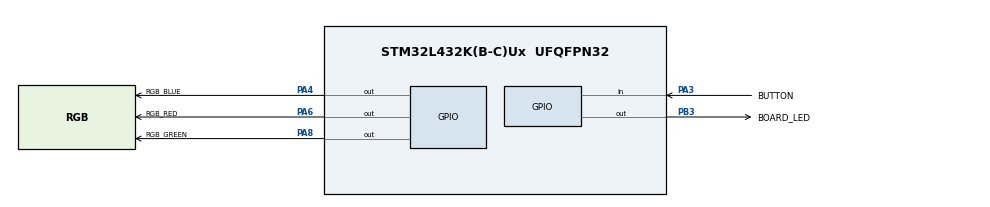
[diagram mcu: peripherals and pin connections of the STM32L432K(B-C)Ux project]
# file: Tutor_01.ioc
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Mcu.Family=STM32L4
Mcu.Name=STM32L432K(B-C)Ux
Mcu.Package=UFQFPN32
NVIC.PriorityGroup=NVIC_PRIORITYGROUP_4
PA3.GPIO_Label=BUTTON
PA3.Signal=GPIO_Input
PA4.GPIO_Label=RGB_BLUE
PA4.Signal=GPIO_Output
PA6.GPIO_Label=RGB_RED
PA6.GPIO_PuPd=GPIO_NOPULL
PA6.GPIO_Speed=GPIO_SPEED_FREQ_LOW
PA6.Signal=GPIO_Output
PA8.GPIO_Label=RGB_GREEN
PA8.Signal=GPIO_Output
PB3\ (JTDO-TRACESWO).GPIO_Label=BOARD_LED
PB3\ (JTDO-TRACESWO).Signal=GPIO_Output
ProjectManager.HeapSize=0x200
ProjectManager.StackSize=0x400
ProjectManager.TargetToolchain=STM32CubeIDE
RCC.HSE_VALUE=8000000
RCC.HSI48_VALUE=48000000
RCC.HSI_VALUE=16000000
RCC.LSE_VALUE=32768
RCC.MSI_VALUE=4000000
RCC.VCOOutputFreq_Value=32000000
board=custom

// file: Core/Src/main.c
/* USER CODE BEGIN Header */
/**
  ******************************************************************************
  * @file           : main.c
  * @brief          : Main program body
  ******************************************************************************
  * @attention
  *
  * <h2><center>&copy; Copyright (c) 2021 STMicroelectronics.
  * All rights reserved.</center></h2>
  *
  * This software component is licensed by ST under BSD 3-Clause license,
  * the "License"; You may not use this file except in compliance with the
  * License. You may obtain a copy of the License at:
  *                        opensource.org/licenses/BSD-3-Clause
  *
  ******************************************************************************
  */
/* USER CODE END Header */
#include "main.h"

void SystemClock_Config(void);
static void MX_GPIO_Init(void);
/* USER CODE BEGIN PFP */
void blinky(float brightness, int on_time, GPIO_TypeDef * Port, uint16_t Pin);
int buttoncheck(int debounce, GPIO_TypeDef * Port, uint16_t Pin);
/* USER CODE END PFP */

int main(void)
{

  /* MCU Configuration--------------------------------------------------------*/

  /* Reset of all peripherals, Initializes the Flash interface and the Systick. */
  HAL_Init();

  /* Configure the system clock */
  SystemClock_Config();

  /* Initialize all configured peripherals */
  MX_GPIO_Init();
  /* USER CODE BEGIN 2 */
  // HAL
  HAL_GPIO_WritePin(RGB_RED_GPIO_Port, RGB_RED_Pin, GPIO_PIN_SET);
  HAL_GPIO_WritePin(RGB_GREEN_GPIO_Port, RGB_GREEN_Pin, GPIO_PIN_SET);
  HAL_GPIO_WritePin(RGB_BLUE_GPIO_Port, RGB_BLUE_Pin, GPIO_PIN_SET);
//  int button_value = 0;
  enum switcher {
		  RED,
		  GREEN,
		  BLUE
  };
  int b_switcher = RED;
//  HAL_Delay(Delay)
  /* USER CODE END 2 */

  /* Infinite loop */
  /* USER CODE BEGIN WHILE */
  while (1)
  {
	// Periode => 20ms => 50 Hertz (1/20)
	// DutyCycle => ON: 2ms OFF: 18ms => 10%
	// 20ms * 0.1 => 2ms
	switch(b_switcher) {
	case RED:
		blinky(0.1, 25, RGB_RED_GPIO_Port, RGB_RED_Pin);
		break;
	case BLUE:
		blinky(0.1, 25, RGB_GREEN_GPIO_Port, RGB_GREEN_Pin);
		break;
	case GREEN:
		blinky(0.1, 25, RGB_BLUE_GPIO_Port, RGB_BLUE_Pin);
		break;
	}

	if(!buttoncheck(5, BUTTON_GPIO_Port, BUTTON_Pin)) {
		b_switcher++;
		HAL_Delay(100);
	}

	if(b_switcher >= 3) {
		b_switcher = RED;
	}

//	blinky(0.1, 25, RGB_RED_GPIO_Port, RGB_RED_Pin);
//	blinky(0.1, 25, RGB_GREEN_GPIO_Port, RGB_GREEN_Pin);
//	blinky(0.1, 25, RGB_BLUE_GPIO_Port, RGB_BLUE_Pin);
    /* USER CODE END WHILE */

  }
}

void SystemClock_Config(void)
{
  RCC_OscInitTypeDef RCC_OscInitStruct = {0};
  RCC_ClkInitTypeDef RCC_ClkInitStruct = {0};

  /** Configure the main internal regulator output voltage
  */
  if (HAL_PWREx_ControlVoltageScaling(PWR_REGULATOR_VOLTAGE_SCALE1) != HAL_OK)
  {
    Error_Handler();
  }
  /** Initializes the RCC Oscillators according to the specified parameters
  * in the RCC_OscInitTypeDef structure.
  */
  RCC_OscInitStruct.OscillatorType = RCC_OSCILLATORTYPE_MSI;
  RCC_OscInitStruct.MSIState = RCC_MSI_ON;
  RCC_OscInitStruct.MSICalibrationValue = 0;
  RCC_OscInitStruct.MSIClockRange = RCC_MSIRANGE_6;
  RCC_OscInitStruct.PLL.PLLState = RCC_PLL_NONE;
  if (HAL_RCC_OscConfig(&RCC_OscInitStruct) != HAL_OK)
  {
    Error_Handler();
  }
  /** Initializes the CPU, AHB and APB buses clocks
  */
  RCC_ClkInitStruct.ClockType = RCC_CLOCKTYPE_HCLK|RCC_CLOCKTYPE_SYSCLK
                              |RCC_CLOCKTYPE_PCLK1|RCC_CLOCKTYPE_PCLK2;
  RCC_ClkInitStruct.SYSCLKSource = RCC_SYSCLKSOURCE_MSI;
  RCC_ClkInitStruct.AHBCLKDivider = RCC_SYSCLK_DIV1;
  RCC_ClkInitStruct.APB1CLKDivider = RCC_HCLK_DIV1;
  RCC_ClkInitStruct.APB2CLKDivider = RCC_HCLK_DIV1;

  if (HAL_RCC_ClockConfig(&RCC_ClkInitStruct, FLASH_LATENCY_0) != HAL_OK)
  {
    Error_Handler();
  }
}

static void MX_GPIO_Init(void)
{
  GPIO_InitTypeDef GPIO_InitStruct = {0};

  /* GPIO Ports Clock Enable */
  __HAL_RCC_GPIOA_CLK_ENABLE();
  __HAL_RCC_GPIOB_CLK_ENABLE();

  /*Configure GPIO pin Output Level */
  HAL_GPIO_WritePin(GPIOA, RGB_BLUE_Pin|RGB_RED_Pin|RGB_GREEN_Pin, GPIO_PIN_RESET);

  /*Configure GPIO pin Output Level */
  HAL_GPIO_WritePin(BOARD_LED_GPIO_Port, BOARD_LED_Pin, GPIO_PIN_RESET);

  /*Configure GPIO pin : BUTTON_Pin */
  GPIO_InitStruct.Pin = BUTTON_Pin;
  GPIO_InitStruct.Mode = GPIO_MODE_INPUT;
  GPIO_InitStruct.Pull = GPIO_NOPULL;
  HAL_GPIO_Init(BUTTON_GPIO_Port, &GPIO_InitStruct);

  /*Configure GPIO pins : RGB_BLUE_Pin RGB_RED_Pin RGB_GREEN_Pin */
  GPIO_InitStruct.Pin = RGB_BLUE_Pin|RGB_RED_Pin|RGB_GREEN_Pin;
  GPIO_InitStruct.Mode = GPIO_MODE_OUTPUT_PP;
  GPIO_InitStruct.Pull = GPIO_NOPULL;
  GPIO_InitStruct.Speed = GPIO_SPEED_FREQ_LOW;
  HAL_GPIO_Init(GPIOA, &GPIO_InitStruct);

  /*Configure GPIO pin : BOARD_LED_Pin */
  GPIO_InitStruct.Pin = BOARD_LED_Pin;
  GPIO_InitStruct.Mode = GPIO_MODE_OUTPUT_PP;
  GPIO_InitStruct.Pull = GPIO_NOPULL;
  GPIO_InitStruct.Speed = GPIO_SPEED_FREQ_LOW;
  HAL_GPIO_Init(BOARD_LED_GPIO_Port, &GPIO_InitStruct);

}

/* USER CODE BEGIN 4 */
void blinky(float brightness, int on_time, GPIO_TypeDef * Port, uint16_t Pin) {
	// 0.0 <=> 1.0 entspricht 0 - 100%
	int duty_cycle = (int) (20 * brightness);

	// LED => 0.5 second per blink
	// 500ms / 20ms => 25 Wiederholungen => on_time
	for (int i = 0; i < on_time; i++) {
		HAL_GPIO_WritePin(Port, Pin, GPIO_PIN_RESET); // RED LED ON
		HAL_Delay(duty_cycle);
		HAL_GPIO_WritePin(Port, Pin, GPIO_PIN_SET); // RED LED OFF
		HAL_Delay(20-duty_cycle);
	}
	HAL_Delay(on_time*20);
}
int buttoncheck(int debounce, GPIO_TypeDef * Port, uint16_t Pin) {
	int button_value = HAL_GPIO_ReadPin(BUTTON_GPIO_Port, BUTTON_Pin);
	HAL_Delay(debounce);
	return button_value;
}
/* USER CODE END 4 */

void Error_Handler(void)
{
  __disable_irq();
  while (1)
  {
  }
}

/************************ (C) COPYRIGHT STMicroelectronics *****END OF FILE****/
